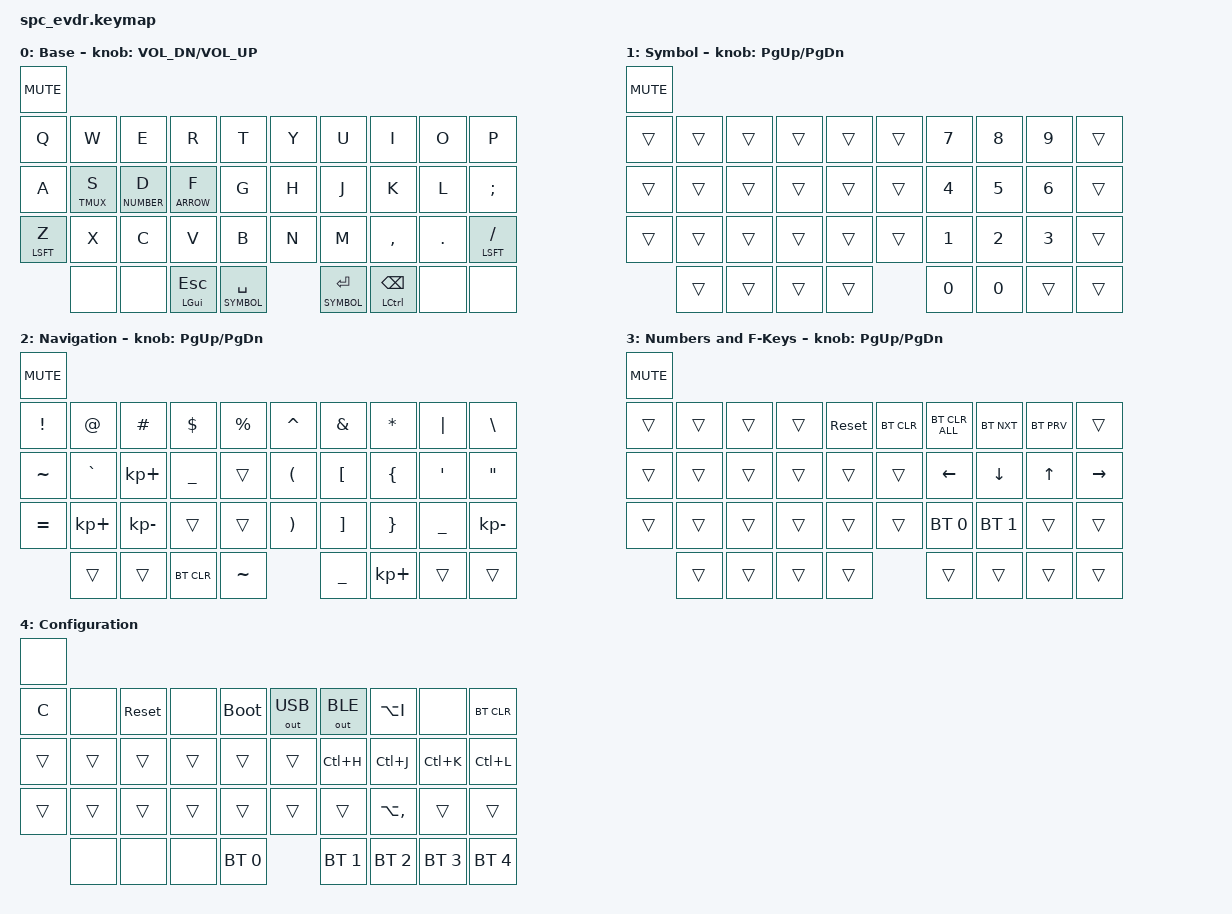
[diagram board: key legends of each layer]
/*
 * Copyright (c) 2022 weteor
 *
 * SPDX-License-Identifier: MIT
 */

#include <behaviors.dtsi>
#include <dt-bindings/zmk/keys.h>
#include <dt-bindings/zmk/bt.h>
#include <dt-bindings/zmk/outputs.h>

#define BASE 0
#define NUMBER 1
#define SYMBOL 2
#define ARROW 3
#define TMUX 4

/ {
    combos {
        compatible = "zmk,combos";
        combo_del {
            timeout-ms = <50>;
            key-positions = <16 17>;
            bindings = <&kp BSPC>;
        };
        combo_tab {
            timeout-ms = <50>;
            key-positions = <17 18>;
            bindings = <&kp TAB>;
        };
        combo_alt {
            timeout-ms = <50>;
            key-positions = <26 27>;
            bindings = <&kp LALT>;
        };
    };

    behaviors {
        hm: homerow_mods {
            compatible = "zmk,behavior-hold-tap";
            label = "homerow mods";
            #binding-cells = <2>;
            tapping_term_ms = <180>;
            flavor = "tap-preferred";
            bindings = <&kp>, <&kp>;
        };
    };

    keymap {
        compatible = "zmk,keymap";

        base_layer {
            label = " Base";
// ╭─────────┬─────┬─────┬─────┬─────┬─────┐   ┌─────┬─────┬─────┬─────┬─────┐
// │ ENCODER │  Q  │  W  │  E  │  R  │  T  │   │  Y  │  U  │  I  │  O  │  P  │
// ├─────────┼─────┼─────┼─────┼─────┼─────┤   ├─────┼─────┼─────┼─────┼─────┤
//           │  A  │S TMX│D NUM│F ARR│  G  │   │  H  │  J  │  K  │  L  │  ;  │
//           ├─────┼─────┼─────┼─────┼─────┤   ├─────┼─────┼─────┼─────┼─────┤
//           │Z SFT│  X  │  C  │  V  │  B  │   │  N  │  M  │  ,  │  .  │/ SFT│
//           └─────┼─────┼─────┼─────┼─────┤   ├─────┼─────┼─────┼─────┼─────┘
//                 │     │     │EALT │SPC  │   │ ENT │BCTL │     │     │
//                 │     │     │ ESC │ SYM │   │ SYM │BSPC │     │     │
//                 └─────┴─────┴─────┴─────┘   └─────┴─────┴─────┴─────┘
//                                 ENCODER: VOLUME
            bindings = <
                &kp C_MUTE
                &kp Q         &kp W         &kp E           &kp R           &kp T       &kp Y         &kp U         &kp I         &kp O         &kp P 
                &kp A         &lt TMUX S    &lt NUMBER D   &lt ARROW F    &kp G       &kp H         &kp J         &kp K         &kp L         &kp SEMICOLON
                &mt LSFT Z    &kp X         &kp C           &kp V           &kp B       &kp N         &kp M         &kp COMMA     &kp DOT       &mt LSFT SLASH
                              &none         &none           &mt LGUI ESC    &lt SYMBOL SPACE   &lt SYMBOL ENTER   &mt LCTRL BSPC   &none   &none
            >;
            sensor-bindings = <&inc_dec_kp C_VOL_DN C_VOL_UP>;
        };
        
        number_layer {
            label = " Symbol";
// ╭─────────┬─────┬─────┬─────┬─────┬─────┐   ┌─────┬─────┬─────┬─────┬─────┐
// │ ENCODER │     │     │     │     │     │   │     │  7  │  8  │  9  │     │
// ├─────────┼─────┼─────┼─────┼─────┼─────┤   ├─────┼─────┼─────┼─────┼─────┤
//           │     │     │     │     │     │   │     │  4  │  5  │  6  │     │
//           ├─────┼─────┼─────┼─────┼─────┤   ├─────┼─────┼─────┼─────┼─────┤
//           │     │     │     │     │     │   │     │  1  │  2  │  3  │     │
//           └─────┼─────┼─────┼─────┼─────┤   ├─────┼─────┼─────┼─────┼─────┘
//                 │     │     │     │     │   │  0  │  0  │     │     │
//                 └─────┴─────┴─────┴─────┘   └─────┴─────┴─────┴─────┘
            bindings = <
                &kp C_MUTE 
                &trans        &trans        &trans          &trans          &trans      &trans        &kp N7        &kp N8        &kp N9        &trans     
                &trans        &trans        &trans          &trans          &trans      &trans        &kp N4        &kp N5        &kp N6        &trans 
                &trans        &trans        &trans          &trans          &trans      &trans        &kp N1        &kp N2        &kp N3        &trans
                              &trans        &trans          &trans          &trans      &kp N0        &kp N0        &trans        &trans
            >;
            sensor-bindings = <&inc_dec_kp PG_UP PG_DN>;
        };
        
        symbol_layer {
            label = " Navigation";
// ╭─────────┬─────┬─────┬─────┬─────┬─────┐   ┌─────┬─────┬─────┬─────┬─────┐
// │ ENCODER │  !  │  @  │  #  │  $  │  %  │   │  ^  │  &  │  *  │  |  │  \  │
// ├─────────┼─────┼─────┼─────┼─────┼─────┤   ├─────┼─────┼─────┼─────┼─────┤
//           │  ~  │  `  │  +  │  _  │     │   │  (  │  [  │  {  │  '  │  "  │
//           ├─────┼─────┼─────┼─────┼─────┤   ├─────┼─────┼─────┼─────┼─────┤
//           │  =  │  +  │  -  │     │     │   │  )  │  ]  │  }  │  _  │  -  │
//           └─────┼─────┼─────┼─────┼─────┤   ├─────┼─────┼─────┼─────┼─────┘
//                 │     │     │BTCLR│  ~  │   │  _  │  +  │     │     │
//                 └─────┴─────┴─────┴─────┘   └─────┴─────┴─────┴─────┘
            bindings = <
                &kp C_MUTE 
                &kp EXCL      &kp AT        &kp HASH        &kp DOLLAR      &kp PERCENT    &kp CARET     &kp AMPERSAND &kp ASTERISK  &kp PIPE      &kp BACKSLASH
                &kp TILDE     &kp GRAVE     &kp KP_PLUS     &kp UNDER       &trans         &kp LPAR      &kp LBKT      &kp LBRC      &kp SQT       &kp DQT  
                &kp EQUAL     &kp KP_PLUS   &kp KP_MINUS    &trans          &trans         &kp RPAR      &kp RBKT      &kp RBRC      &kp UNDER     &kp KP_MINUS  
                              &trans        &trans          &bt BT_CLR      &kp TILDE      &kp UNDER     &kp KP_PLUS   &trans        &trans 
            >;
            sensor-bindings = <&inc_dec_kp PG_UP PG_DN>;
        };

        arrow_layer {
            label = " Numbers and F-Keys";
// ╭─────────┬─────┬─────┬─────┬─────┬─────┐   ┌─────┬─────┬─────┬─────┬─────┐
// │ ENCODER │     │     │     │     │RESET│   │BTCLR│BTALL│BTNXT│BTPRV│     │
// ├─────────┼─────┼─────┼─────┼─────┼─────┤   ├─────┼─────┼─────┼─────┼─────┤
//           │     │     │     │     │     │   │     │  ←  │  ↓  │  ↑  │  →  │
//           ├─────┼─────┼─────┼─────┼─────┤   ├─────┼─────┼─────┼─────┼─────┤
//           │     │     │     │     │     │   │     │ BT0 │ BT1 │     │     │
//           └─────┼─────┼─────┼─────┼─────┤   ├─────┼─────┼─────┼─────┼─────┘
//                 │     │     │     │     │   │     │     │     │     │
//                 └─────┴─────┴─────┴─────┘   └─────┴─────┴─────┴─────┘
            bindings = <
                &kp C_MUTE 
                &trans        &trans        &trans          &trans          &sys_reset     &bt BT_CLR    &bt BT_CLR_ALL &bt BT_NXT   &bt BT_PRV    &trans
                &trans        &trans        &trans          &trans          &trans         &trans        &kp LEFT      &kp DOWN     &kp UP        &kp RIGHT  
                &trans        &trans        &trans          &trans          &trans         &trans        &bt BT_SEL 0  &bt BT_SEL 1 &trans        &trans
                              &trans        &trans          &trans          &trans         &trans        &trans        &trans        &trans  
            >;
            sensor-bindings = <&inc_dec_kp PG_UP PG_DN>;
        };
        
        tmux_layer {
            label = " Configuration";
// ╭─────────┬─────┬─────┬─────┬─────┬─────┐   ┌─────┬─────┬─────┬─────┬─────┐
// │   ---   │  C  │     │RESET│     │BOOT │   │ USB │ BLE │ A-I │     │BTCLR│
// ├─────────┼─────┼─────┼─────┼─────┼─────┤   ├─────┼─────┼─────┼─────┼─────┤
//           │     │     │     │     │     │   │     │ C-H │ C-J │ C-K │ C-L │
//           ├─────┼─────┼─────┼─────┼─────┤   ├─────┼─────┼─────┼─────┼─────┤
//           │     │     │     │     │     │   │     │     │A-COM│     │     │
//           └─────┼─────┼─────┼─────┼─────┤   ├─────┼─────┼─────┼─────┼─────┘
//                 │     │     │     │BT0  │   │ BT1 │ BT2 │ BT3 │ BT4 │
//                 └─────┴─────┴─────┴─────┘   └─────┴─────┴─────┴─────┘
            bindings = <
                &none
                &kp C         &none         &sys_reset      &none           &bootloader    &out OUT_USB  &out OUT_BLE  &kp LA(I)     &none         &bt BT_CLR
                &trans        &trans        &trans          &trans          &trans         &trans        &kp LC(H)     &kp LC(J)     &kp LC(K)     &kp LC(L)
                &trans        &trans        &trans          &trans          &trans         &trans        &trans        &kp LA(COMMA) &trans        &trans 
                              &none         &none           &none           &bt BT_SEL 0   &bt BT_SEL 1  &bt BT_SEL 2  &bt BT_SEL 3  &bt BT_SEL 4
            >;
        };
    };
};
